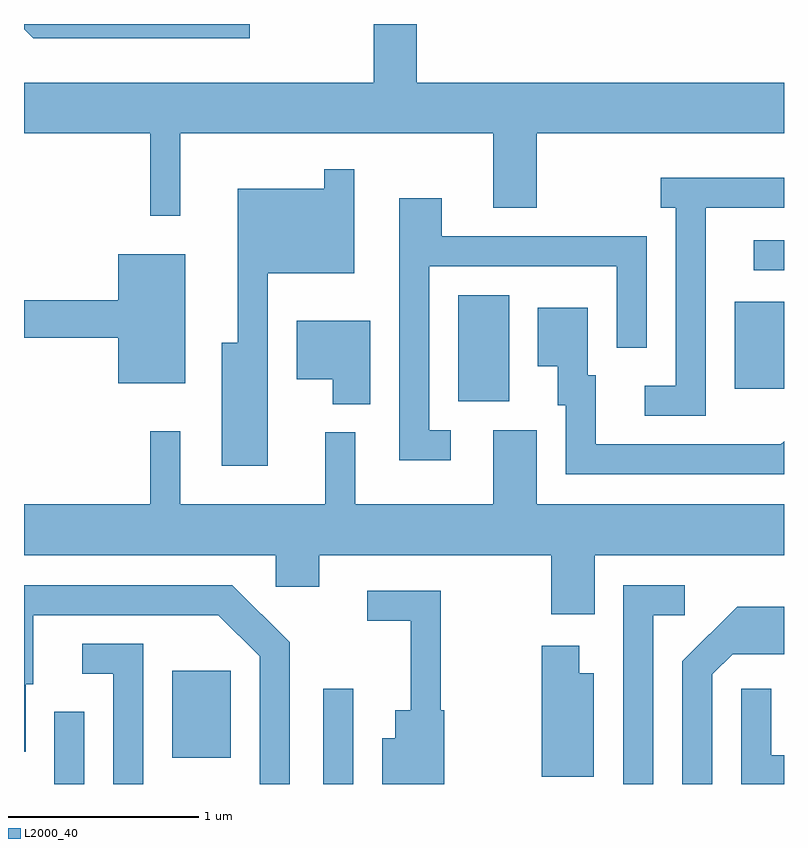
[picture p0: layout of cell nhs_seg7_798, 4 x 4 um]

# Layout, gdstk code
import gdstk
lib = gdstk.Library(unit=1e-6, precision=1e-09)
def R(c, l, rs):  # rectangles x0, y0, x1, y1
    for r in rs: c.add(gdstk.rectangle(r[:2], r[2:], *l))
def P(c, l, *ps):  # polygons
    for p in ps: c.add(gdstk.Polygon(p, *l))
L2000_40 = (2000, 40)

nhs_seg7_798 = lib.new_cell('nhs_seg7_798')
R(nhs_seg7_798, L2000_40, [(209.771,1684.252,209.929,1684.633), (211.186,1684.252,211.344,1684.753), (210.391,1684.391,210.699,1684.849), (211.896,1686.266,212.164,1686.824), (213.351,1686.331,213.611,1686.789), (213.453,1686.956,213.611,1687.114)])
P(nhs_seg7_798, L2000_40, [(210.434,1687.676),(212.081,1687.676),(212.081,1687.286),(212.309,1687.286),(212.309,1687.676),(213.611,1687.676),(213.611,1687.944),(211.679,1687.944),(211.679,1688.252),(211.451,1688.252),(211.451,1687.944),(209.611,1687.944),(209.611,1687.676),(210.276,1687.676),(210.276,1687.243),(210.434,1687.243)],
  [(210.798,1688.252),(209.611,1688.252),(209.611,1688.224),(209.659,1688.176),(210.798,1688.176)],
  [(210.894,1686.941),(211.349,1686.941),(211.349,1687.488),(211.191,1687.488),(211.191,1687.384),(210.736,1687.384),(210.736,1686.574),(210.651,1686.574),(210.651,1685.926),(210.894,1685.926)],
  [(213.199,1687.286),(213.611,1687.286),(213.611,1687.444),(212.963,1687.444),(212.963,1687.286),(213.041,1687.286),(213.041,1686.349),(212.878,1686.349),(212.878,1686.191),(213.199,1686.191)],
  [(211.858,1686.114),(211.744,1686.114),(211.744,1686.976),(212.731,1686.976),(212.731,1686.548),(212.889,1686.548),(212.889,1687.134),(211.809,1687.134),(211.809,1687.334),(211.586,1687.334),(211.586,1685.956),(211.858,1685.956)],
  [(210.459,1687.039),(210.106,1687.039),(210.106,1686.799),(209.611,1686.799),(209.611,1686.601),(210.106,1686.601),(210.106,1686.361),(210.459,1686.361)],
  [(213.611,1686.056),(213.594,1686.039),(212.619,1686.039),(212.619,1686.404),(212.579,1686.404),(212.579,1686.759),(212.316,1686.759),(212.316,1686.451),(212.421,1686.451),(212.421,1686.246),(212.461,1686.246),(212.461,1685.881),(213.611,1685.881)],
  [(211.434,1686.689),(211.046,1686.689),(211.046,1686.381),(211.236,1686.381),(211.236,1686.251),(211.434,1686.251)],
  [(212.614,1685.456),(213.611,1685.456),(213.611,1685.724),(212.309,1685.724),(212.309,1686.114),(212.081,1686.114),(212.081,1685.724),(211.354,1685.724),(211.354,1686.103),(211.196,1686.103),(211.196,1685.724),(210.434,1685.724),(210.434,1686.108),(210.276,1686.108),(210.276,1685.724),(209.611,1685.724),(209.611,1685.456),(210.936,1685.456),(210.936,1685.291),(211.164,1685.291),(211.164,1685.456),(212.386,1685.456),(212.386,1685.146),(212.614,1685.146)],
  [(212.924,1685.141),(213.088,1685.141),(213.088,1685.299),(212.766,1685.299),(212.766,1684.252),(212.924,1684.252)],
  [(211.009,1684.997),(210.707,1685.299),(209.611,1685.299),(209.611,1684.421),(209.619,1684.421),(209.619,1684.776),(209.659,1684.776),(209.659,1685.141),(210.634,1685.141),(210.851,1684.924),(210.851,1684.252),(211.009,1684.252)],
  [(211.824,1684.639),(211.804,1684.639),(211.804,1685.269),(211.418,1685.269),(211.418,1685.111),(211.646,1685.111),(211.646,1684.639),(211.566,1684.639),(211.566,1684.494),(211.496,1684.494),(211.496,1684.252),(211.824,1684.252)],
  [(213.234,1684.829),(213.342,1684.936),(213.611,1684.936),(213.611,1685.184),(213.364,1685.184),(213.076,1684.897),(213.076,1684.252),(213.234,1684.252)],
  [(210.239,1684.989),(209.918,1684.989),(209.918,1684.831),(210.081,1684.831),(210.081,1684.252),(210.239,1684.252)],
  [(212.609,1684.834),(212.534,1684.834),(212.534,1684.979),(212.336,1684.979),(212.336,1684.291),(212.609,1684.291)],
  [(213.611,1684.404),(213.544,1684.404),(213.544,1684.753),(213.386,1684.753),(213.386,1684.252),(213.611,1684.252)])

lib.write_gds('nhs_seg7_798.gds')
